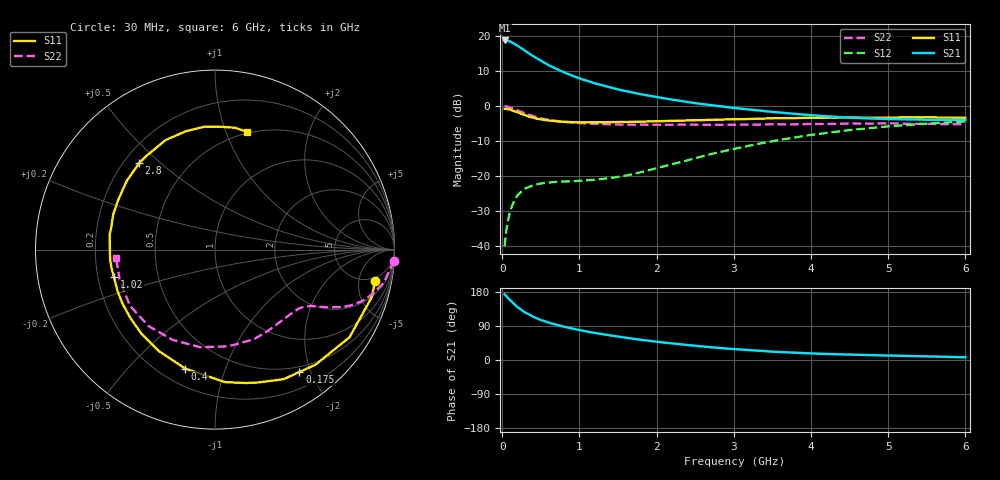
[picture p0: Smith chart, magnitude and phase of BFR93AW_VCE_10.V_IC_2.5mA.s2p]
! Infineon Technologies  Discrete & RF Semiconductors
! BFR93AW
! VCE =  10. V,  IC =  2.5 mA
! Common Emitter S-Parameters:  Nov 2015
# GHz  S  MA  R  50
!  f  S11  S21  S12  S22
! GHz  MAG  ANG  MAG  ANG  MAG  ANG  MAG  ANG
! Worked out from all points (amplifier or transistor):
!   206 points, 30 MHz to 6 GHz, reference 50 ohm
!   highest |S21| = 18.7 dB at 30 MHz (marker M1)
!   |S21| within 3 dB of that: start of sweep to 301.2 MHz
!   unconditionally stable (mu >= 1): 1.166 GHz to 2.24 GHz
!   at 200 MHz: K = 0.19, MSG = 21.3 dB, |S12| = -25.4 dB
!   at 1.56 GHz: K = 1.14, MAG = 10.0 dB, |S12| = -20.0 dB
!   at 6 GHz: K = 0.96, MSG = 0.2 dB, |S12| = -4.4 dB
!   S11 on the Smith chart (normalised r, x): 30 MHz: 4.17, -8.31; 175 MHz: 0.42, -1.83; 400 MHz: 0.30, -0.74; 1.02 GHz: 0.27, -0.12; 2.8 GHz: 0.26, +0.43; 6 GHz: 0.49, +1.19
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0.03  0.9088 -11.0  8.564 173.3  0.0101 81.3  0.9994 -3.6
0.05  0.913 -16.8  8.537 168.6  0.0164 79.5  0.9852 -5.8
0.1  0.8947 -33.1  8.292 158.1  0.0312 72.7  0.958 -11.2
0.15  0.8512 -48.9  7.769 147.8  0.0437 64.4  0.9133 -15.7
0.175  0.8286 -55.4  7.468 143.7  0.0487 61.1  0.8903 -17.5
0.2  0.817 -62.1  7.208 139.3  0.0539 58.4  0.8682 -19.3
0.26  0.7637 -76.8  6.502 130.2  0.0623 52.0  0.8145 -22.5
0.3  0.7404 -85.7  6.075 125.0  0.0671 48.9  0.7821 -24.1
0.4  0.6831 -104.1  5.116 114.0  0.0744 43.0  0.7154 -26.7
0.5  0.646 -119.1  4.397 105.5  0.0789 39.6  0.6673 -28.5
0.6  0.6234 -130.9  3.808 98.6  0.0812 37.9  0.6348 -29.7
0.8  0.5967 -149.9  3.005 87.6  0.0844 37.7  0.5915 -32.5
1.02  0.5835 -164.8  2.43 78.1  0.0866 41.3  0.5688 -35.6
1.04  0.5836 -166.0  2.39 77.3  0.0867 41.7  0.5671 -36.0
1.2  0.5869 -174.7  2.1 71.3  0.089 45.6  0.5574 -38.8
1.5  0.5929 172.2  1.721 61.7  0.0978 54.7  0.5465 -44.9
2.02  0.6057 153.2  1.327 47.6  0.1319 67.4  0.5404 -57.3
2.8  0.6412 131.2  0.997 32.0  0.219 72.2  0.5413 -77.8
3.1  0.6493 123.6  0.914 27.5  0.2578 70.4  0.5415 -86.0
4.1  0.6795 102.0  0.726 16.6  0.4 59.1  0.5537 -118.3
5.1  0.6849 85.9  0.648 11.3  0.5215 43.7  0.5626 -149.5
6  0.68 74.7  0.632 7.2  0.6029 30.6  0.5529 -175.3
